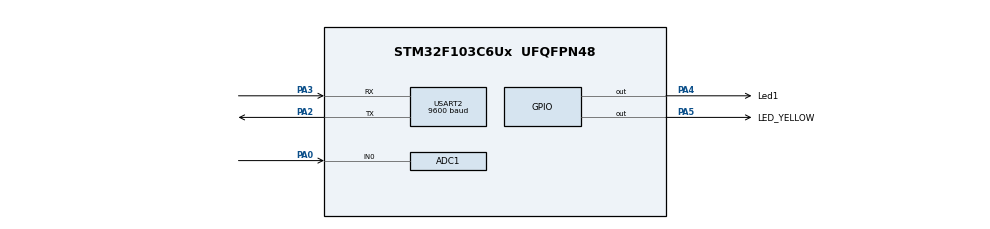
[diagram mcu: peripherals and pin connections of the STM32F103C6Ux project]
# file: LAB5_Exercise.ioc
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ADC1.Channel-0\#ChannelRegularConversion=ADC_CHANNEL_0
ADC1.ContinuousConvMode=ENABLE
ADC1.NbrOfConversionFlag=1
ADC1.Rank-0\#ChannelRegularConversion=1
ADC1.SamplingTime-0\#ChannelRegularConversion=ADC_SAMPLETIME_1CYCLE_5
ADC1.master=1
Mcu.Family=STM32F1
Mcu.Name=STM32F103C6Ux
Mcu.Package=UFQFPN48
NVIC.PriorityGroup=NVIC_PRIORITYGROUP_4
NVIC.TIM2_IRQn=true\:0\:0\:false\:false\:true\:true\:true
NVIC.USART2_IRQn=true\:0\:0\:false\:false\:true\:true\:true
PA0-WKUP.Signal=ADCx_IN0
PA2.Mode=Asynchronous
PA2.Signal=USART2_TX
PA3.Mode=Asynchronous
PA3.Signal=USART2_RX
PA4.GPIO_Label=Led1
PA4.Signal=GPIO_Output
PA5.GPIO_Label=LED_YELLOW
PA5.Signal=GPIO_Output
PA6.Signal=S_TIM3_CH1
ProjectManager.HeapSize=0x200
ProjectManager.StackSize=0x400
ProjectManager.TargetToolchain=STM32CubeIDE
RCC.APB1Freq_Value=8000000
RCC.APB2Freq_Value=8000000
SH.ADCx_IN0.0=ADC1_IN0,IN0
SH.S_TIM3_CH1.0=TIM3_CH1
TIM2.Period=9
TIM2.Prescaler=7999
USART2.BaudRate=9600
USART2.VirtualMode=VM_ASYNC
VP_SYS_VS_ND.Mode=No_Debug
VP_TIM2_VS_ClockSourceINT.Mode=Internal
VP_TIM2_VS_ClockSourceITR.Mode=TriggerSource_ITR3
board=custom

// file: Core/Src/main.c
/* USER CODE BEGIN Header */
/**
  ******************************************************************************
  * @file           : main.c
  * @brief          : Main program body
  ******************************************************************************
  * @attention
  *
  * <h2><center>&copy; Copyright (c) 2024 STMicroelectronics.
  * All rights reserved.</center></h2>
  *
  * This software component is licensed by ST under BSD 3-Clause license,
  * the "License"; You may not use this file except in compliance with the
  * License. You may obtain a copy of the License at:
  *                        opensource.org/licenses/BSD-3-Clause
  *
  ******************************************************************************
  */
/* USER CODE END Header */
#include "main.h"

/* USER CODE BEGIN Includes */
#include "global.h"
#include "string.h"
#include "stdio.h"
#include "timer.h"
#include "parser.h"
#include "uart.h"
/* USER CODE END Includes */

ADC_HandleTypeDef hadc1;

TIM_HandleTypeDef htim2;

UART_HandleTypeDef huart2;

void SystemClock_Config(void);
static void MX_GPIO_Init(void);
static void MX_ADC1_Init(void);
static void MX_USART2_UART_Init(void);
static void MX_TIM2_Init(void);

/* USER CODE BEGIN 0 */
void HAL_UART_RxCpltCallback ( UART_HandleTypeDef * huart ) {
	//Luu ki tu nhan dc vao buffer
	if (huart->Instance == USART2){
		buffer[bufferIndex++] = temp;
		if (bufferIndex == MAX_BUFFER) bufferIndex = 0;
		bufferFlag = 1;
		//Truyen ki tu nhan dc qua UART
		HAL_UART_Transmit (&huart2 , &temp , 1 , 50) ;
		//Nhan ki tu moi
		HAL_UART_Receive_IT (&huart2 , &temp , 1) ;
	}
}
/* USER CODE END 0 */

int main(void)
{

  /* MCU Configuration--------------------------------------------------------*/

  /* Reset of all peripherals, Initializes the Flash interface and the Systick. */
  HAL_Init();

  /* Configure the system clock */
  SystemClock_Config();

  /* Initialize all configured peripherals */
  MX_GPIO_Init();
  MX_ADC1_Init();
  MX_USART2_UART_Init();
  MX_TIM2_Init();
  /* USER CODE BEGIN 2 */
  HAL_TIM_Base_Start_IT(&htim2);
  HAL_UART_Receive_IT(&huart2, &temp, 1);
  /* USER CODE END 2 */

  /* Infinite loop */
  /* USER CODE BEGIN WHILE */
setTimer(0, 100);
 // clearTimer(1);
  while (1)
  {
	  if (timer_flag[0] == 1){
	 		  HAL_GPIO_TogglePin(LED_YELLOW_GPIO_Port, LED_YELLOW_Pin);
	 		  setTimer(0,1000);
	 	  }
	 	  if (bufferFlag == 1){ //Neu co ki tu moi trong buffer
	 		  parser_fsm(); //Goi ham nay de xu ly
	 		  bufferFlag = 0;
	 	  }
	 	  UART_fsm(hadc1, huart2);
    /* USER CODE END WHILE */

  }
}

void SystemClock_Config(void)
{
  RCC_OscInitTypeDef RCC_OscInitStruct = {0};
  RCC_ClkInitTypeDef RCC_ClkInitStruct = {0};
  RCC_PeriphCLKInitTypeDef PeriphClkInit = {0};

  /** Initializes the RCC Oscillators according to the specified parameters
  * in the RCC_OscInitTypeDef structure.
  */
  RCC_OscInitStruct.OscillatorType = RCC_OSCILLATORTYPE_HSI;
  RCC_OscInitStruct.HSIState = RCC_HSI_ON;
  RCC_OscInitStruct.HSICalibrationValue = RCC_HSICALIBRATION_DEFAULT;
  RCC_OscInitStruct.PLL.PLLState = RCC_PLL_NONE;
  if (HAL_RCC_OscConfig(&RCC_OscInitStruct) != HAL_OK)
  {
    Error_Handler();
  }
  /** Initializes the CPU, AHB and APB buses clocks
  */
  RCC_ClkInitStruct.ClockType = RCC_CLOCKTYPE_HCLK|RCC_CLOCKTYPE_SYSCLK
                              |RCC_CLOCKTYPE_PCLK1|RCC_CLOCKTYPE_PCLK2;
  RCC_ClkInitStruct.SYSCLKSource = RCC_SYSCLKSOURCE_HSI;
  RCC_ClkInitStruct.AHBCLKDivider = RCC_SYSCLK_DIV1;
  RCC_ClkInitStruct.APB1CLKDivider = RCC_HCLK_DIV1;
  RCC_ClkInitStruct.APB2CLKDivider = RCC_HCLK_DIV1;

  if (HAL_RCC_ClockConfig(&RCC_ClkInitStruct, FLASH_LATENCY_0) != HAL_OK)
  {
    Error_Handler();
  }
  PeriphClkInit.PeriphClockSelection = RCC_PERIPHCLK_ADC;
  PeriphClkInit.AdcClockSelection = RCC_ADCPCLK2_DIV2;
  if (HAL_RCCEx_PeriphCLKConfig(&PeriphClkInit) != HAL_OK)
  {
    Error_Handler();
  }
}

static void MX_ADC1_Init(void)
{

  ADC_ChannelConfTypeDef sConfig = {0};

  /** Common config
  */
  hadc1.Instance = ADC1;
  hadc1.Init.ScanConvMode = ADC_SCAN_DISABLE;
  hadc1.Init.ContinuousConvMode = ENABLE;
  hadc1.Init.DiscontinuousConvMode = DISABLE;
  hadc1.Init.ExternalTrigConv = ADC_SOFTWARE_START;
  hadc1.Init.DataAlign = ADC_DATAALIGN_RIGHT;
  hadc1.Init.NbrOfConversion = 1;
  if (HAL_ADC_Init(&hadc1) != HAL_OK)
  {
    Error_Handler();
  }
  /** Configure Regular Channel
  */
  sConfig.Channel = ADC_CHANNEL_0;
  sConfig.Rank = ADC_REGULAR_RANK_1;
  sConfig.SamplingTime = ADC_SAMPLETIME_1CYCLE_5;
  if (HAL_ADC_ConfigChannel(&hadc1, &sConfig) != HAL_OK)
  {
    Error_Handler();
  }

}

static void MX_TIM2_Init(void)
{

  TIM_ClockConfigTypeDef sClockSourceConfig = {0};
  TIM_SlaveConfigTypeDef sSlaveConfig = {0};
  TIM_MasterConfigTypeDef sMasterConfig = {0};

  htim2.Instance = TIM2;
  htim2.Init.Prescaler = 7999;
  htim2.Init.CounterMode = TIM_COUNTERMODE_UP;
  htim2.Init.Period = 9;
  htim2.Init.ClockDivision = TIM_CLOCKDIVISION_DIV1;
  htim2.Init.AutoReloadPreload = TIM_AUTORELOAD_PRELOAD_DISABLE;
  if (HAL_TIM_Base_Init(&htim2) != HAL_OK)
  {
    Error_Handler();
  }
  sClockSourceConfig.ClockSource = TIM_CLOCKSOURCE_INTERNAL;
  if (HAL_TIM_ConfigClockSource(&htim2, &sClockSourceConfig) != HAL_OK)
  {
    Error_Handler();
  }
  sSlaveConfig.SlaveMode = TIM_SLAVEMODE_DISABLE;
  sSlaveConfig.InputTrigger = TIM_TS_ITR3;
  if (HAL_TIM_SlaveConfigSynchro(&htim2, &sSlaveConfig) != HAL_OK)
  {
    Error_Handler();
  }
  sMasterConfig.MasterOutputTrigger = TIM_TRGO_RESET;
  sMasterConfig.MasterSlaveMode = TIM_MASTERSLAVEMODE_DISABLE;
  if (HAL_TIMEx_MasterConfigSynchronization(&htim2, &sMasterConfig) != HAL_OK)
  {
    Error_Handler();
  }

}

static void MX_USART2_UART_Init(void)
{

  huart2.Instance = USART2;
  huart2.Init.BaudRate = 9600;
  huart2.Init.WordLength = UART_WORDLENGTH_8B;
  huart2.Init.StopBits = UART_STOPBITS_1;
  huart2.Init.Parity = UART_PARITY_NONE;
  huart2.Init.Mode = UART_MODE_TX_RX;
  huart2.Init.HwFlowCtl = UART_HWCONTROL_NONE;
  huart2.Init.OverSampling = UART_OVERSAMPLING_16;
  if (HAL_UART_Init(&huart2) != HAL_OK)
  {
    Error_Handler();
  }

}

static void MX_GPIO_Init(void)
{
  GPIO_InitTypeDef GPIO_InitStruct = {0};

  /* GPIO Ports Clock Enable */
  __HAL_RCC_GPIOA_CLK_ENABLE();

  /*Configure GPIO pin Output Level */
  HAL_GPIO_WritePin(GPIOA, Led1_Pin|LED_YELLOW_Pin, GPIO_PIN_RESET);

  /*Configure GPIO pins : Led1_Pin LED_YELLOW_Pin */
  GPIO_InitStruct.Pin = Led1_Pin|LED_YELLOW_Pin;
  GPIO_InitStruct.Mode = GPIO_MODE_OUTPUT_PP;
  GPIO_InitStruct.Pull = GPIO_NOPULL;
  GPIO_InitStruct.Speed = GPIO_SPEED_FREQ_LOW;
  HAL_GPIO_Init(GPIOA, &GPIO_InitStruct);

  /*Configure GPIO pin : PA6 */
  GPIO_InitStruct.Pin = GPIO_PIN_6;
  GPIO_InitStruct.Mode = GPIO_MODE_AF_PP;
  GPIO_InitStruct.Speed = GPIO_SPEED_FREQ_LOW;
  HAL_GPIO_Init(GPIOA, &GPIO_InitStruct);

}

/* USER CODE BEGIN 4 */
void HAL_TIM_PeriodElapsedCallback(TIM_HandleTypeDef *htim){
	//if(htim->Instance==TIM2)
	timerRun();
}
/* USER CODE END 4 */

void Error_Handler(void)
{
  __disable_irq();
  while (1)
  {
  }
}

/************************ (C) COPYRIGHT STMicroelectronics *****END OF FILE****/
